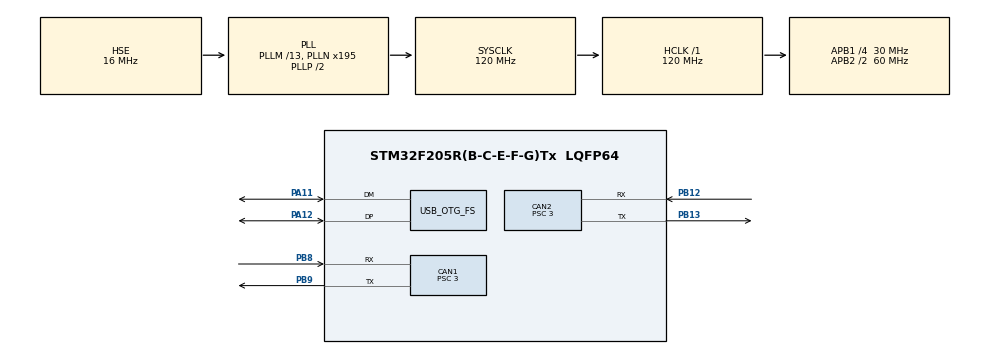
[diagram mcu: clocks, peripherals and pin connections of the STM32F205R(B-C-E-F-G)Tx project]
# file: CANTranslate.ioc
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CAN1.BS1=CAN_BS1_8TQ
CAN1.CalculateBaudRate=1000000
CAN1.CalculateTimeBit=1000
CAN1.CalculateTimeQuantum=100.0
CAN1.Mode=CAN_MODE_NORMAL
CAN1.Prescaler=3
CAN2.BS1=CAN_BS1_8TQ
CAN2.CalculateBaudRate=1000000
CAN2.CalculateTimeBit=1000
CAN2.CalculateTimeQuantum=100.0
CAN2.Prescaler=3
FREERTOS.CountingSemaphores01=dronecan_tx_semaphore,3,Dynamic,NULL,3;cansimple_tx_semaphore,3,Dynamic,NULL,3
FREERTOS.Mutexes01=micros_mutex,Dynamic,NULL,Available
FREERTOS.Queues01=dronecan_tx_queue,16,CANFrame,0,Dynamic,NULL,NULL;dronecan_rx_queue,16,CanardCANFrame,0,Dynamic,NULL,NULL;cansimple_rx_queue,16,CANFrame,0,Dynamic,NULL,NULL;log_queue,32,log_message_t,0,Dynamic,NULL,NULL;cansimple_tx_queue,16,CANFrame,0,Dynamic,NULL,NULL
FREERTOS.Tasks01=defaultTask,8,128,StartDefaultTask,Default,NULL,Dynamic,NULL,NULL;dronecanTask,40,2048,StartDronecanTask,As external,NULL,Dynamic,NULL,NULL;cansimpleTask,40,1024,StartCanSimpleTask,As external,NULL,Dynamic,NULL,NULL;dronecanTxTask,40,1024,StartDronecanTxTask,As external,NULL,Dynamic,NULL,NULL;loggingTask,24,1024,StartLoggingTask,As external,NULL,Dynamic,NULL,NULL;cansimpleTxTask,40,1024,StartCanSimpleTxTask,As external,NULL,Dynamic,NULL,NULL
FREERTOS.configCHECK_FOR_STACK_OVERFLOW=2
FREERTOS.configTOTAL_HEAP_SIZE=0x10000
FREERTOS.configUSE_MALLOC_FAILED_HOOK=1
Mcu.Family=STM32F2
Mcu.Name=STM32F205R(B-C-E-F-G)Tx
Mcu.Package=LQFP64
NVIC.CAN1_RX0_IRQn=true\:5\:0\:false\:false\:true\:true\:true\:true\:true
NVIC.CAN1_RX1_IRQn=true\:5\:0\:false\:false\:true\:true\:true\:true\:true
NVIC.CAN1_TX_IRQn=true\:5\:0\:false\:false\:true\:true\:true\:true\:true
NVIC.CAN2_RX0_IRQn=true\:5\:0\:false\:false\:true\:true\:true\:true\:true
NVIC.CAN2_RX1_IRQn=true\:5\:0\:false\:false\:true\:true\:true\:true\:true
NVIC.CAN2_TX_IRQn=true\:5\:0\:false\:false\:true\:true\:true\:true\:true
NVIC.OTG_FS_IRQn=true\:5\:0\:false\:false\:true\:true\:false\:true\:true
NVIC.PriorityGroup=NVIC_PRIORITYGROUP_4
NVIC.TIM1_UP_TIM10_IRQn=true\:15\:0\:false\:false\:true\:false\:false\:true\:true
NVIC.TIM2_IRQn=true\:5\:0\:false\:false\:true\:true\:true\:true\:true
NVIC.TimeBase=TIM1_UP_TIM10_IRQn
NVIC.TimeBaseIP=TIM1
PA11.Mode=Device_Only
PA11.Signal=USB_OTG_FS_DM
PA12.Mode=Device_Only
PA12.Signal=USB_OTG_FS_DP
PA13.Mode=Trace_Asynchronous_SW
PA13.Signal=SYS_JTMS-SWDIO
PA14.Mode=Trace_Asynchronous_SW
PA14.Signal=SYS_JTCK-SWCLK
PB12.Mode=CAN_Activate
PB12.Signal=CAN2_RX
PB13.Mode=CAN_Activate
PB13.Signal=CAN2_TX
PB3.Mode=Trace_Asynchronous_SW
PB3.Signal=SYS_JTDO-SWO
PB8.Mode=CAN_Activate
PB8.Signal=CAN1_RX
PB9.Mode=CAN_Activate
PB9.Signal=CAN1_TX
PH0-OSC_IN.Mode=HSE-External-Oscillator
PH0-OSC_IN.Signal=RCC_OSC_IN
PH1-OSC_OUT.Mode=HSE-External-Oscillator
PH1-OSC_OUT.Signal=RCC_OSC_OUT
ProjectManager.HeapSize=0x200
ProjectManager.StackSize=0x400
ProjectManager.TargetToolchain=CMake
RCC.48MHZClocksFreq_Value=48000000
RCC.AHBFreq_Value=120000000
RCC.APB1CLKDivider=RCC_HCLK_DIV4
RCC.APB1Freq_Value=30000000
RCC.APB1TimFreq_Value=60000000
RCC.APB2CLKDivider=RCC_HCLK_DIV2
RCC.APB2Freq_Value=60000000
RCC.APB2TimFreq_Value=120000000
RCC.CortexFreq_Value=120000000
RCC.HCLKFreq_Value=120000000
RCC.HSE_VALUE=16000000
RCC.HSI_VALUE=16000000
RCC.LSE_VALUE=32768
RCC.PLLM=13
RCC.PLLN=195
RCC.PLLQ=5
RCC.PLLSourceVirtual=RCC_PLLSOURCE_HSE
RCC.SYSCLKFreq_VALUE=120000000
RCC.SYSCLKSource=RCC_SYSCLKSOURCE_PLLCLK
RCC.VCOOutputFreq_Value=240000000
TIM2.Period=65535
TIM2.Prescaler=71
USB_DEVICE.CLASS_NAME_FS=CDC
USB_DEVICE.MANUFACTURER_STRING-CDC_FS=Finn Willard
USB_DEVICE.PRODUCT_STRING_CDC_FS=CANTranslate
USB_DEVICE.VirtualMode-CDC_FS=Cdc
USB_DEVICE.VirtualModeFS=Cdc_FS
USB_OTG_FS.VirtualMode=Device_Only
VP_FREERTOS_VS_CMSIS_V2.Mode=CMSIS_V2
VP_SYS_VS_tim1.Mode=TIM1
VP_TIM2_VS_ClockSourceINT.Mode=Internal
VP_USB_DEVICE_VS_USB_DEVICE_CDC_FS.Mode=CDC_FS
board=custom

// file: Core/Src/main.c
/* USER CODE BEGIN Header */
/**
 ******************************************************************************
 * @file           : main.c
 * @brief          : Main program body
 ******************************************************************************
 * @attention
 *
 * Copyright (c) 2025 STMicroelectronics.
 * All rights reserved.
 *
 * This software is licensed under terms that can be found in the LICENSE file
 * in the root directory of this software component.
 * If no LICENSE file comes with this software, it is provided AS-IS.
 *
 ******************************************************************************
 */
/* USER CODE END Header */
#include "main.h"
#include "cmsis_os.h"
#include "can.h"
#include "tim.h"
#include "usb_device.h"
#include "gpio.h"

/* USER CODE BEGIN Includes */
#include "usbd_cdc_if.h"

/* USER CODE END Includes */

void SystemClock_Config(void);
void MX_FREERTOS_Init(void);

/* USER CODE BEGIN 0 */
int __io_putchar(int ch) {
  /* Support printf over USB CDC */
  CDC_Transmit_FS((uint8_t *)&ch, 1);
  return ch;
}

int _write(int file, char *ptr, int len) {
  /* Support printf over USB CDC */
  CDC_Transmit_FS((uint8_t *)ptr, len);
  return len;
}

/* USER CODE END 0 */

int main(void)
{

  /* MCU Configuration--------------------------------------------------------*/

  /* Reset of all peripherals, Initializes the Flash interface and the Systick. */
  HAL_Init();

  /* Configure the system clock */
  SystemClock_Config();

  /* Initialize all configured peripherals */
  MX_GPIO_Init();
  MX_CAN1_Init();
  MX_CAN2_Init();
  MX_TIM2_Init();

  /* Init scheduler */
  osKernelInitialize();  /* Call init function for freertos objects (in cmsis_os2.c) */
  MX_FREERTOS_Init();

  /* Start scheduler */
  osKernelStart();

  /* We should never get here as control is now taken by the scheduler */

  /* Infinite loop */
  while (1) {

  }
}

void SystemClock_Config(void)
{
  RCC_OscInitTypeDef RCC_OscInitStruct = {0};
  RCC_ClkInitTypeDef RCC_ClkInitStruct = {0};

  /** Initializes the RCC Oscillators according to the specified parameters
  * in the RCC_OscInitTypeDef structure.
  */
  RCC_OscInitStruct.OscillatorType = RCC_OSCILLATORTYPE_HSE;
  RCC_OscInitStruct.HSEState = RCC_HSE_ON;
  RCC_OscInitStruct.PLL.PLLState = RCC_PLL_ON;
  RCC_OscInitStruct.PLL.PLLSource = RCC_PLLSOURCE_HSE;
  RCC_OscInitStruct.PLL.PLLM = 13;
  RCC_OscInitStruct.PLL.PLLN = 195;
  RCC_OscInitStruct.PLL.PLLP = RCC_PLLP_DIV2;
  RCC_OscInitStruct.PLL.PLLQ = 5;
  if (HAL_RCC_OscConfig(&RCC_OscInitStruct) != HAL_OK)
  {
    Error_Handler();
  }

  /** Initializes the CPU, AHB and APB buses clocks
  */
  RCC_ClkInitStruct.ClockType = RCC_CLOCKTYPE_HCLK|RCC_CLOCKTYPE_SYSCLK
                              |RCC_CLOCKTYPE_PCLK1|RCC_CLOCKTYPE_PCLK2;
  RCC_ClkInitStruct.SYSCLKSource = RCC_SYSCLKSOURCE_PLLCLK;
  RCC_ClkInitStruct.AHBCLKDivider = RCC_SYSCLK_DIV1;
  RCC_ClkInitStruct.APB1CLKDivider = RCC_HCLK_DIV4;
  RCC_ClkInitStruct.APB2CLKDivider = RCC_HCLK_DIV2;

  if (HAL_RCC_ClockConfig(&RCC_ClkInitStruct, FLASH_LATENCY_3) != HAL_OK)
  {
    Error_Handler();
  }
}

void HAL_TIM_PeriodElapsedCallback(TIM_HandleTypeDef *htim)
{
  if (htim->Instance == TIM1)
  {
    HAL_IncTick();
  }
}

void Error_Handler(void)
{
  __disable_irq();
  while (1) {
  }
}
#ifdef USE_FULL_ASSERT
/**
  * @brief  Reports the name of the source file and the source line number
  *         where the assert_param error has occurred.
  * @param  file: pointer to the source file name
  * @param  line: assert_param error line source number
  * @retval None
  */
void assert_failed(uint8_t *file, uint32_t line)
{
  /* USER CODE BEGIN 6 */
  /* User can add his own implementation to report the file name and line
     number, ex: printf("Wrong parameters value: file %s on line %d\r\n", file,
     line) */
  /* USER CODE END 6 */
}
#endif /* USE_FULL_ASSERT */

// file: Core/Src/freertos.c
/* USER CODE BEGIN Header */
/**
 ******************************************************************************
 * File Name          : freertos.c
 * Description        : Code for freertos applications
 ******************************************************************************
 * @attention
 *
 * Copyright (c) 2025 STMicroelectronics.
 * All rights reserved.
 *
 * This software is licensed under terms that can be found in the LICENSE file
 * in the root directory of this software component.
 * If no LICENSE file comes with this software, it is provided AS-IS.
 *
 ******************************************************************************
 */
/* USER CODE END Header */

#include "FreeRTOS.h"
#include "task.h"
#include "main.h"
#include "cmsis_os.h"

/* USER CODE BEGIN Includes */
#include "can.h"
#include "canard.h"
#include "logging.h"
#include <stdio.h>
/* USER CODE END Includes */

/* Definitions for defaultTask */
osThreadId_t defaultTaskHandle;
const osThreadAttr_t defaultTask_attributes = {
  .name = "defaultTask",
  .stack_size = 128 * 4,
  .priority = (osPriority_t) osPriorityLow,
};
/* Definitions for dronecanTask */
osThreadId_t dronecanTaskHandle;
const osThreadAttr_t dronecanTask_attributes = {
  .name = "dronecanTask",
  .stack_size = 2048 * 4,
  .priority = (osPriority_t) osPriorityHigh,
};
/* Definitions for cansimpleTask */
osThreadId_t cansimpleTaskHandle;
const osThreadAttr_t cansimpleTask_attributes = {
  .name = "cansimpleTask",
  .stack_size = 1024 * 4,
  .priority = (osPriority_t) osPriorityHigh,
};
/* Definitions for dronecanTxTask */
osThreadId_t dronecanTxTaskHandle;
const osThreadAttr_t dronecanTxTask_attributes = {
  .name = "dronecanTxTask",
  .stack_size = 1024 * 4,
  .priority = (osPriority_t) osPriorityHigh,
};
/* Definitions for loggingTask */
osThreadId_t loggingTaskHandle;
const osThreadAttr_t loggingTask_attributes = {
  .name = "loggingTask",
  .stack_size = 1024 * 4,
  .priority = (osPriority_t) osPriorityNormal,
};
/* Definitions for cansimpleTxTask */
osThreadId_t cansimpleTxTaskHandle;
const osThreadAttr_t cansimpleTxTask_attributes = {
  .name = "cansimpleTxTask",
  .stack_size = 1024 * 4,
  .priority = (osPriority_t) osPriorityHigh,
};
/* Definitions for dronecan_tx_queue */
osMessageQueueId_t dronecan_tx_queueHandle;
const osMessageQueueAttr_t dronecan_tx_queue_attributes = {
  .name = "dronecan_tx_queue"
};
/* Definitions for dronecan_rx_queue */
osMessageQueueId_t dronecan_rx_queueHandle;
const osMessageQueueAttr_t dronecan_rx_queue_attributes = {
  .name = "dronecan_rx_queue"
};
/* Definitions for cansimple_rx_queue */
osMessageQueueId_t cansimple_rx_queueHandle;
const osMessageQueueAttr_t cansimple_rx_queue_attributes = {
  .name = "cansimple_rx_queue"
};
/* Definitions for log_queue */
osMessageQueueId_t log_queueHandle;
const osMessageQueueAttr_t log_queue_attributes = {
  .name = "log_queue"
};
/* Definitions for cansimple_tx_queue */
osMessageQueueId_t cansimple_tx_queueHandle;
const osMessageQueueAttr_t cansimple_tx_queue_attributes = {
  .name = "cansimple_tx_queue"
};
/* Definitions for micros_mutex */
osMutexId_t micros_mutexHandle;
const osMutexAttr_t micros_mutex_attributes = {
  .name = "micros_mutex"
};
/* Definitions for dronecan_tx_semaphore */
osSemaphoreId_t dronecan_tx_semaphoreHandle;
const osSemaphoreAttr_t dronecan_tx_semaphore_attributes = {
  .name = "dronecan_tx_semaphore"
};
/* Definitions for cansimple_tx_semaphore */
osSemaphoreId_t cansimple_tx_semaphoreHandle;
const osSemaphoreAttr_t cansimple_tx_semaphore_attributes = {
  .name = "cansimple_tx_semaphore"
};

void StartDefaultTask(void *argument);
extern void StartDronecanTask(void *argument);
extern void StartCanSimpleTask(void *argument);
extern void StartDronecanTxTask(void *argument);
extern void StartLoggingTask(void *argument);
extern void StartCanSimpleTxTask(void *argument);

extern void MX_USB_DEVICE_Init(void);
void MX_FREERTOS_Init(void); /* (MISRA C 2004 rule 8.1) */

/* Hook prototypes */
void vApplicationStackOverflowHook(xTaskHandle xTask, signed char *pcTaskName);
void vApplicationMallocFailedHook(void);

/* USER CODE BEGIN 4 */
void vApplicationStackOverflowHook(xTaskHandle xTask, signed char *pcTaskName) {
  /* Run time stack overflow checking is performed if
  configCHECK_FOR_STACK_OVERFLOW is defined to 1 or 2. This hook function is
  called if a stack overflow is detected. */
  taskDISABLE_INTERRUPTS();
  for (;;)
    ;
}
/* USER CODE END 4 */

/* USER CODE BEGIN 5 */
void vApplicationMallocFailedHook(void) {
  /* vApplicationMallocFailedHook() will only be called if
  configUSE_MALLOC_FAILED_HOOK is set to 1 in FreeRTOSConfig.h. It is a hook
  function that will get called if a call to pvPortMalloc() fails.
  pvPortMalloc() is called internally by the kernel whenever a task, queue,
  timer or semaphore is created. It is also called by various parts of the
  demo application. If heap_1.c or heap_2.c are used, then the size of the
  heap available to pvPortMalloc() is defined by configTOTAL_HEAP_SIZE in
  FreeRTOSConfig.h, and the xPortGetFreeHeapSize() API function can be used
  to query the size of free heap space that remains (although it does not
  provide information on how the remaining heap might be fragmented). */
  printf("Malloc failed! Out of heap memory!\n");
  taskENTER_CRITICAL();
  while (1)
    ;
}
/* USER CODE END 5 */

void MX_FREERTOS_Init(void) {
  /* Create the mutex(es) */
  /* creation of micros_mutex */
  micros_mutexHandle = osMutexNew(&micros_mutex_attributes);

  /* Create the semaphores(s) */
  /* creation of dronecan_tx_semaphore */
  dronecan_tx_semaphoreHandle = osSemaphoreNew(3, 3, &dronecan_tx_semaphore_attributes);

  /* creation of cansimple_tx_semaphore */
  cansimple_tx_semaphoreHandle = osSemaphoreNew(3, 3, &cansimple_tx_semaphore_attributes);

  /* Create the queue(s) */
  /* creation of dronecan_tx_queue */
  dronecan_tx_queueHandle = osMessageQueueNew (16, sizeof(CANFrame), &dronecan_tx_queue_attributes);

  /* creation of dronecan_rx_queue */
  dronecan_rx_queueHandle = osMessageQueueNew (16, sizeof(CanardCANFrame), &dronecan_rx_queue_attributes);

  /* creation of cansimple_rx_queue */
  cansimple_rx_queueHandle = osMessageQueueNew (16, sizeof(CANFrame), &cansimple_rx_queue_attributes);

  /* creation of log_queue */
  log_queueHandle = osMessageQueueNew (32, sizeof(log_message_t), &log_queue_attributes);

  /* creation of cansimple_tx_queue */
  cansimple_tx_queueHandle = osMessageQueueNew (16, sizeof(CANFrame), &cansimple_tx_queue_attributes);

  /* Create the thread(s) */
  /* creation of defaultTask */
  defaultTaskHandle = osThreadNew(StartDefaultTask, NULL, &defaultTask_attributes);

  /* creation of dronecanTask */
  dronecanTaskHandle = osThreadNew(StartDronecanTask, NULL, &dronecanTask_attributes);

  /* creation of cansimpleTask */
  cansimpleTaskHandle = osThreadNew(StartCanSimpleTask, NULL, &cansimpleTask_attributes);

  /* creation of dronecanTxTask */
  dronecanTxTaskHandle = osThreadNew(StartDronecanTxTask, NULL, &dronecanTxTask_attributes);

  /* creation of loggingTask */
  loggingTaskHandle = osThreadNew(StartLoggingTask, NULL, &loggingTask_attributes);

  /* creation of cansimpleTxTask */
  cansimpleTxTaskHandle = osThreadNew(StartCanSimpleTxTask, NULL, &cansimpleTxTask_attributes);

}

void StartDefaultTask(void *argument)
{
  /* init code for USB_DEVICE */
  MX_USB_DEVICE_Init();
  /* USER CODE BEGIN StartDefaultTask */
  for (;;) {
    osDelay(100);
  }
  /* USER CODE END StartDefaultTask */
}
